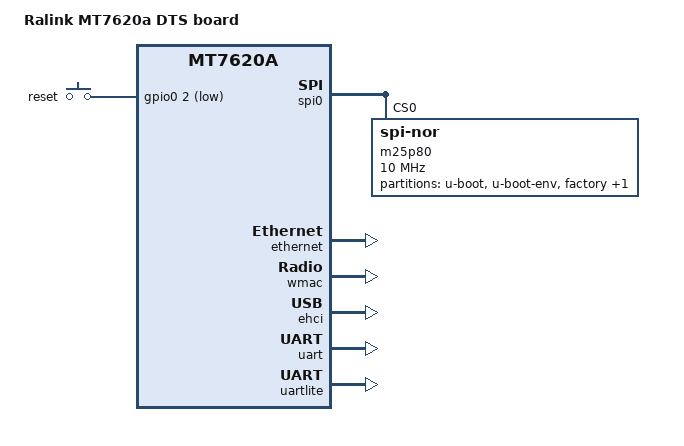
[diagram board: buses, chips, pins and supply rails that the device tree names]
/dts-v1/;

#include "mt7620a.dtsi"

/ {
	compatible = "ralink,mt7620a-dts-board", "ralink,mt7620a-soc";
	model = "Ralink MT7620a DTS board";
	
	chosen {
		bootargs = "console=ttyS1,57600";
	};

	gpio-keys-polled {
		compatible = "gpio-keys";
		#address-cells = <1>;
		#size-cells = <0>;
		poll-interval = <20>;

		reset {
			label = "reset";
			gpios = <&gpio0 2 1>;
			linux,code = <0x100>;
		};
		
	};
};

	&spi0 {
		status = "okay";

		m25p80@0 {
			#address-cells = <1>;
			#size-cells = <1>;
			compatible = "jedec,spi-nor";
			reg = <0>;
			linux,modalias = "m25p80", "en25q64";
			spi-max-frequency = <10000000>;
			m25p,chunked-io = <32>;

			partition@0 {
				label = "u-boot";
				reg = <0x0 0x30000>;
				read-only;
			};

			partition@30000 {
				label = "u-boot-env";
				reg = <0x30000 0x10000>;
				read-only;
			};

			factory: partition@40000 {
				label = "factory";
				reg = <0x40000 0x10000>;
				read-only;
			};

			partition@50000 {
				label = "firmware";
				reg = <0x50000 0x1fb0000>;
			};
		};
	};

	&pinctrl {
		state_default: pinctrl0 {
			gpio {
				ralink,group = "i2c";
				ralink,function = "gpio";
			};
		};
	};

	&ethernet {
		status = "okay";
		pinctrl-names = "default";
		pinctrl-0 = <&ephy_pins>;
		mtd-mac-address = <&factory 0x4>;
		mediatek,portmap = "llllw";
	};
	
	&wmac {
			ralink,mtd-eeprom = <&factory 0>;
	};
	
	&gsw {
		mediatek,port4 = "gmac";
	};

	&ehci {
		status = "okay";
	};

	&uart {
		status = "okay";
	};

	&uartlite {
		status = "okay";
	};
